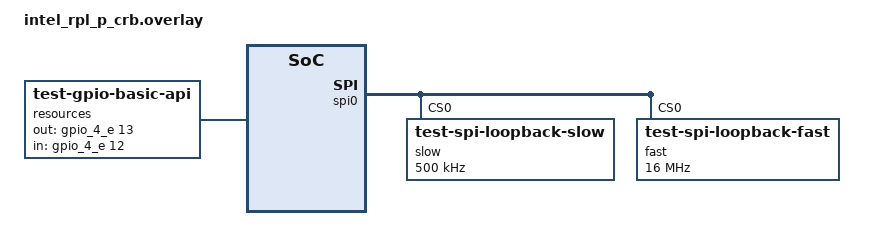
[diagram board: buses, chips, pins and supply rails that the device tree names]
/*
 * Copyright (c) 2023 Intel Corporation
 *
 * SPDX-License-Identifier: Apache-2.0
 */

/* External Loopback: Short MOSI & MISO  */

&spi0 {
	pw,cs-mode = <0>;
	pw,cs-output = <0>;
	status = "okay";

	slow@0 {
		compatible = "test-spi-loopback-slow";
		reg = <0>;
		spi-max-frequency = <500000>;
	};

	fast@0 {
		compatible = "test-spi-loopback-fast";
		reg = <0>;
		spi-max-frequency = <16000000>;
	};
};

/ {
	resources {
		compatible = "test-gpio-basic-api";
		out-gpios = <&gpio_4_e 13 0>;
		in-gpios = <&gpio_4_e 12 0>;
	};
};
